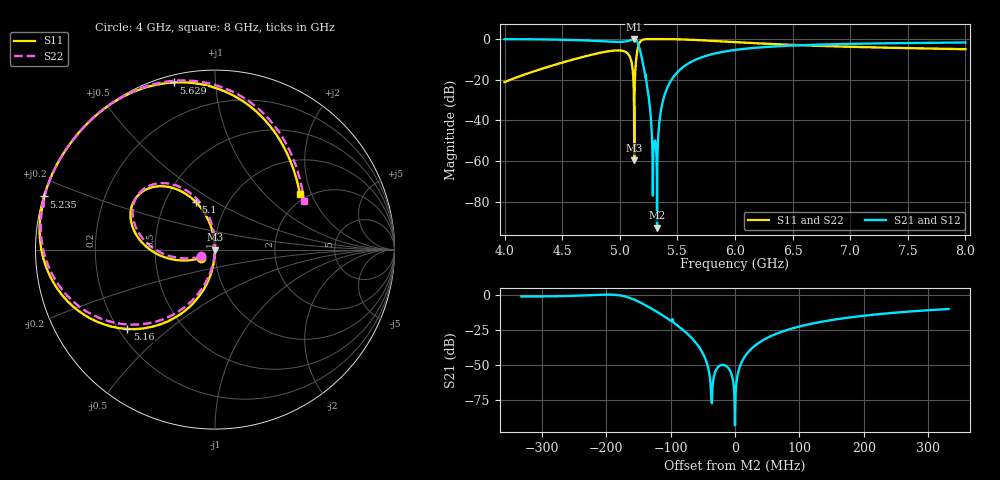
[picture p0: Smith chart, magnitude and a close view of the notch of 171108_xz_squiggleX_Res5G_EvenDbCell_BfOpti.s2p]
! Sonnet Data File
! From: emgraph Version : 16.52
! From Emgraph Data: 171106_xz_squiggleX_Res5G_EvenBrgSg
! Data File Written: 11/08/2017 15:27:10
!< HDATE 11/08/2017 14:35:54
!< MDATE 11/08/2017 14:35:54
!< PARAMS
!< Squiggle_length = 16.0
!< Inter_L = 35.0
!< Holo = 82.0
!< Inter = 19.0
!< END PARAMS
# GHZ S MA R 50.00000
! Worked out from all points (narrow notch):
!   4001 points, 4 GHz to 8 GHz, reference 50 ohm
!   highest |S21| = 0.00 dB at 5.125 GHz (marker M1); lowest = -92.8 dB at 5.323 GHz (marker M2)
!   notch at M2: 90.6 dB deep, 55.4 MHz wide at half that depth
!   lowest |S11| = -59.6 dB at 5.125 GHz (marker M3), VSWR 1.00, Z = 49.9 - j0.0446 ohm
!   |S11| at or under -10 dB: start of sweep to 4.598 GHz; 5.096 GHz to 5.142 GHz (46.5 MHz wide, 0.908 % of centre)
!   |S22| runs from -62.8 to 0.0 dB; largest |S21 - S12| = 0
!   S11 on the Smith chart (normalised r, x): 4 GHz: 0.86, -0.08; 5.1 GHz: 0.71, +0.41; 5.16 GHz: 0.23, -0.37; 5.235 GHz: 0.00, +0.15; 5.629 GHz: 0.03, +0.78; 8 GHz: 1.82, +1.66
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4  0.08773 -149.1  0.9961 -61.6  0.9961 -61.6  0.08773 -154.2
!< P1 F=4.0 Eeff=(6.46205531 -2.9804e-5) Z0=(51.0228591 1.17668e-4) R=0.01152096 C=0.01592983
!< P2 F=4.0 Eeff=(6.46205531 -2.9804e-5) Z0=(51.0228591 1.17668e-4) R=0.01152096 C=0.01592983
4.667  0.3566 -179.3  0.9342 -91.1  0.9342 -91.1  0.3566 177.2
5.01  0.5219 143.2  0.853 -128.5  0.853 -128.5  0.5219 139.9
5.071  0.4329 126.3  0.9014 -145.3  0.9014 -145.3  0.4329 123.0
5.1  0.2844 111.8  0.9586 -159.9  0.9586 -159.9  0.2844 108.4
5.11  0.1944 104.7  0.9807 -167.2  0.9807 -167.2  0.1944 101.1
5.125  0.001046 -154.7  0.9998 178.7  0.9998 178.7  0.0007262 -40.5
5.139  0.2543 -107.4  0.9668 161.3  0.9668 161.3  0.2543 -110.2
5.16  0.6595 -137.9  0.7513 130.6  0.7513 130.6  0.6595 -141.0
5.191  0.9404 -172.9  0.3396 95.6  0.3396 95.6  0.9404 -176.0
5.235  0.9971 162.7  0.07563 71.2  0.07563 71.2  0.9971 159.6
5.286  1 148.1  0.0002605 57.7  0.0002605 57.7  1 145.0
5.305  1 144.1  0.003192 -127.5  0.003192 -127.5  1 141.0
5.323  1 140.7  2.292e-05 37.9  2.292e-05 37.9  1 137.6
5.334  0.9999 138.8  0.004294 47.1  0.004294 47.1  1 135.6
5.362  0.9997 134.2  0.02087 42.6  0.02087 42.6  0.9997 131.1
5.413  0.9979 127.0  0.06407 35.4  0.06407 35.4  0.9979 123.8
5.629  0.9588 103.8  0.2836 12.2  0.2836 12.2  0.9588 100.6
6  0.841 79.3  0.5404 -12.4  0.5404 -12.4  0.841 76.0
6.667  0.6909 56.6  0.722 -35.3  0.722 -35.3  0.691 53.0
7.334  0.6129 43.3  0.7894 -48.7  0.7894 -48.7  0.6129 39.4
8  0.5651 33.3  0.825 -58.9  0.825 -58.9  0.5651 28.8
